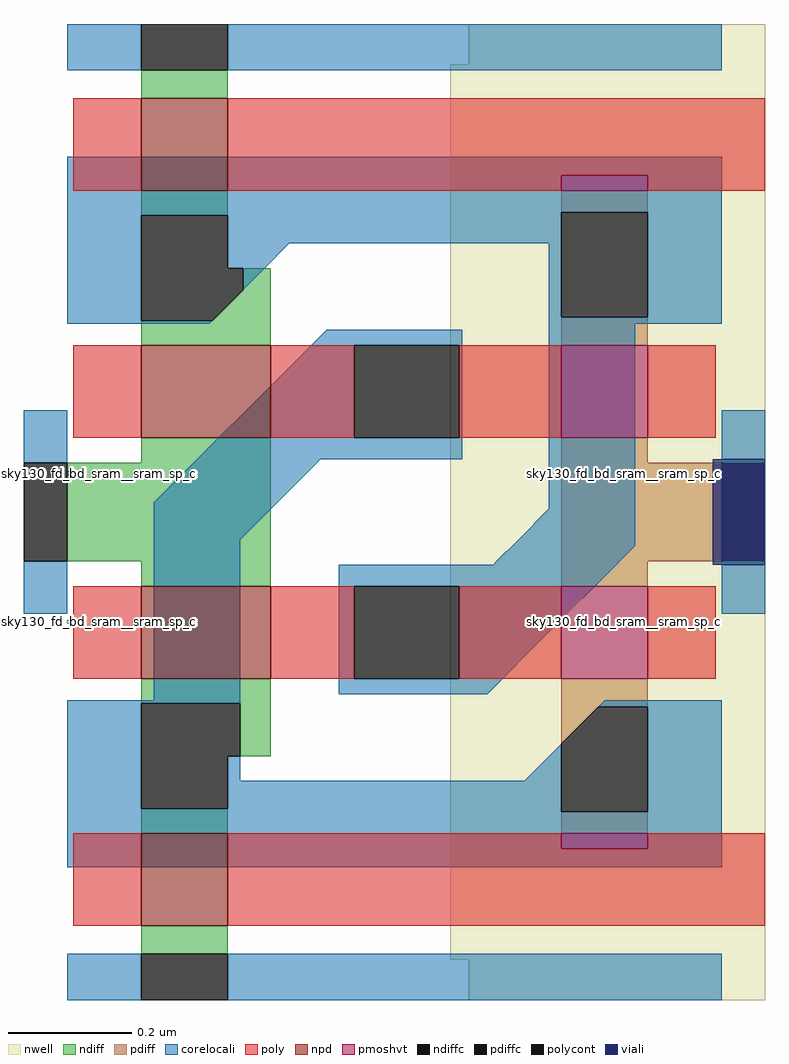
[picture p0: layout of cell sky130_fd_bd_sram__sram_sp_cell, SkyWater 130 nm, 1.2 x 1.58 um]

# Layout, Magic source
magic
tech sky130A
magscale 1 2
<< nwell >>
rect 144 303 240 316
rect 138 13 240 303
rect 144 0 240 13
<< npd >>
rect 38 262 66 292
rect 38 182 80 212
rect 38 104 80 134
rect 38 24 66 54
<< pmoshvt >>
rect 174 262 202 267
rect 174 182 202 212
rect 174 104 202 134
rect 174 49 202 54
<< ndiff >>
rect 38 292 66 301
rect 38 254 66 262
tri 61 220 71 230 se
rect 71 220 80 237
rect 38 212 80 220
rect 38 174 80 182
rect 14 142 80 174
rect 38 134 80 142
rect 38 96 80 104
rect 70 79 80 96
rect 38 54 66 62
rect 38 15 66 24
<< pdiff >>
rect 174 255 202 262
rect 174 212 202 221
rect 174 174 202 182
rect 174 142 226 174
rect 174 134 202 142
rect 174 95 202 104
tri 174 83 186 95 nw
rect 174 54 202 61
<< ndiffc >>
rect 38 301 66 316
rect 38 237 66 254
rect 38 230 71 237
rect 38 220 61 230
tri 61 220 71 230 nw
rect 0 142 14 174
rect 38 79 70 96
rect 38 62 66 79
rect 38 0 66 15
<< pdiffc >>
rect 174 221 202 255
rect 226 142 240 174
tri 174 83 186 95 se
rect 186 83 202 95
rect 174 61 202 83
<< poly >>
rect 16 262 38 292
rect 66 267 240 292
rect 66 262 174 267
rect 202 262 240 267
rect 16 182 38 212
rect 80 182 107 212
rect 141 182 174 212
rect 202 182 224 212
rect 16 104 38 134
rect 80 104 107 134
rect 141 104 174 134
rect 202 104 224 134
rect 16 24 38 54
rect 66 49 174 54
rect 202 49 240 54
rect 66 24 240 49
<< polycont >>
rect 107 182 141 212
rect 107 104 141 134
<< corelocali >>
rect 14 301 38 316
rect 66 301 226 316
rect 14 255 226 273
rect 14 254 174 255
rect 14 220 38 254
rect 66 245 174 254
rect 66 237 78 245
tri 78 237 86 245 nw
tri 71 230 78 237 nw
rect 170 221 174 245
rect 202 221 226 255
rect 14 219 60 220
tri 60 219 61 220 nw
rect 170 219 226 221
tri 93 212 98 217 se
rect 98 212 142 217
tri 82 201 93 212 se
rect 93 201 107 212
tri 72 191 82 201 se
rect 82 191 107 201
rect 0 174 14 191
tri 63 182 72 191 se
rect 72 182 107 191
rect 141 182 142 212
tri 55 174 63 182 se
rect 63 175 142 182
rect 63 174 95 175
tri 95 174 96 175 nw
rect 0 125 14 142
tri 42 161 55 174 se
rect 55 161 82 174
tri 82 161 95 174 nw
rect 42 97 70 161
tri 70 149 82 161 nw
tri 160 149 170 159 se
rect 170 149 198 219
rect 226 175 240 191
tri 153 142 160 149 se
rect 160 147 198 149
rect 160 142 193 147
tri 193 142 198 147 nw
tri 152 141 153 142 se
rect 153 141 192 142
tri 192 141 193 142 nw
rect 102 134 170 141
rect 102 104 107 134
rect 141 119 170 134
tri 170 119 192 141 nw
rect 226 125 240 141
rect 141 104 150 119
rect 102 99 150 104
tri 150 99 170 119 nw
rect 14 96 70 97
rect 14 62 38 96
tri 186 95 188 97 se
rect 188 95 226 97
rect 66 71 70 79
tri 162 71 174 83 se
rect 66 62 174 71
rect 14 61 174 62
rect 202 61 226 95
rect 14 43 226 61
rect 14 0 38 15
rect 66 0 226 15
<< viali >>
rect 223 174 240 175
rect 223 142 226 174
rect 226 142 240 174
rect 223 141 240 142
use sky130_fd_bd_sram__sram_sp_cell_fom_serifs  sky130_fd_bd_sram__sram_sp_cell_fom_serifs_0
transform 1 0 0 0 1 122
box 14 0 195 49
<< properties >>
string GDS_FILE sky130_fd_bd_sram__sram_sp_cell.gds
string GDS_END 4302
string GDS_START 804
<< end >>

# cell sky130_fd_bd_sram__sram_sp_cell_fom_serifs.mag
magic
tech sky130A
magscale 1 2
use sky130_fd_bd_sram__sram_sp_cell_fom_serif_nmos  sky130_fd_bd_sram__sram_sp_cell_fom_serif_nmos_0
transform 1 0 14 0 1 0
box 0 0 1 1
use sky130_fd_bd_sram__sram_sp_cell_fom_serif_nmos  sky130_fd_bd_sram__sram_sp_cell_fom_serif_nmos_1
transform 1 0 14 0 1 48
box 0 0 1 1
use sky130_fd_bd_sram__sram_sp_cell_fom_serif_pmos  sky130_fd_bd_sram__sram_sp_cell_fom_serif_pmos_0
transform 1 0 194 0 1 48
box 0 0 1 1
use sky130_fd_bd_sram__sram_sp_cell_fom_serif_pmos  sky130_fd_bd_sram__sram_sp_cell_fom_serif_pmos_1
transform 1 0 194 0 1 0
box 0 0 1 1
<< properties >>
string GDS_FILE sky130_fd_bd_sram__sram_sp_cell_fom_serifs.gds
string GDS_END 750
string GDS_START 466
<< end >>
